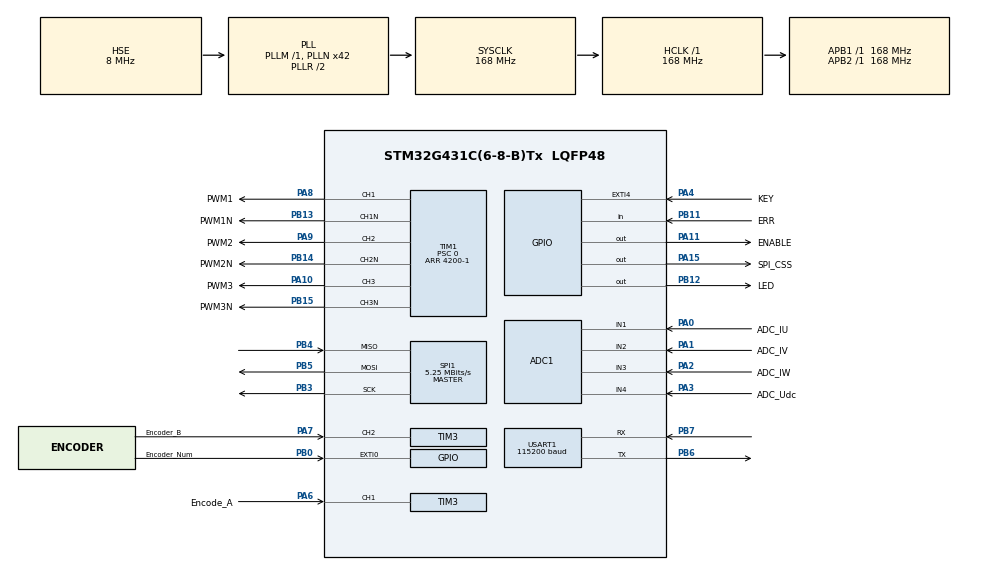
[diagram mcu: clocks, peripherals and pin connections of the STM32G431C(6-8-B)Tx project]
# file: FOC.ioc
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ADC1.Channel-4\#ChannelRegularConversion=ADC_CHANNEL_TEMPSENSOR_ADC1
ADC1.ContinuousConvMode=DISABLE
ADC1.DMAContinuousRequests=DISABLE
ADC1.EnableInjectedConversion=ENABLE
ADC1.EnableRegularConversion=ENABLE
ADC1.ExternalTrigInjecConv=ADC_EXTERNALTRIGINJEC_T1_CC4
ADC1.ExternalTrigInjecConvEdge=ADC_EXTERNALTRIGINJECCONV_EDGE_FALLING
ADC1.InjNumberOfConversion=4
ADC1.InjectedChannel-5\#ChannelInjectedConversion=ADC_CHANNEL_1
ADC1.InjectedChannel-6\#ChannelInjectedConversion=ADC_CHANNEL_2
ADC1.InjectedChannel-7\#ChannelInjectedConversion=ADC_CHANNEL_3
ADC1.InjectedChannel-8\#ChannelInjectedConversion=ADC_CHANNEL_4
ADC1.InjectedOffsetNumber-5\#ChannelInjectedConversion=ADC_OFFSET_NONE
ADC1.InjectedOffsetNumber-6\#ChannelInjectedConversion=ADC_OFFSET_NONE
ADC1.InjectedOffsetNumber-7\#ChannelInjectedConversion=ADC_OFFSET_NONE
ADC1.InjectedOffsetNumber-8\#ChannelInjectedConversion=ADC_OFFSET_NONE
ADC1.InjectedRank-5\#ChannelInjectedConversion=1
ADC1.InjectedRank-6\#ChannelInjectedConversion=2
ADC1.InjectedRank-7\#ChannelInjectedConversion=3
ADC1.InjectedRank-8\#ChannelInjectedConversion=4
ADC1.InjectedSamplingTime-5\#ChannelInjectedConversion=ADC_SAMPLETIME_2CYCLES_5
ADC1.InjectedSamplingTime-6\#ChannelInjectedConversion=ADC_SAMPLETIME_2CYCLES_5
ADC1.InjectedSamplingTime-7\#ChannelInjectedConversion=ADC_SAMPLETIME_2CYCLES_5
ADC1.InjectedSamplingTime-8\#ChannelInjectedConversion=ADC_SAMPLETIME_2CYCLES_5
ADC1.NbrOfConversionFlag=1
ADC1.OffsetNumber-4\#ChannelRegularConversion=ADC_OFFSET_NONE
ADC1.OversamplingMode=DISABLE
ADC1.Rank-4\#ChannelRegularConversion=1
ADC1.Rank1_Channel=ADC_CHANNEL_1
ADC1.Rank2_Channel=ADC_CHANNEL_2
ADC1.Rank3_Channel=ADC_CHANNEL_3
ADC1.Rank4_Channel=ADC_CHANNEL_4
ADC1.SamplingTime-4\#ChannelRegularConversion=ADC_SAMPLETIME_2CYCLES_5
ADC1.master=1
Dma.ADC1.0.Direction=DMA_PERIPH_TO_MEMORY
Dma.ADC1.0.EventEnable=DISABLE
Dma.ADC1.0.Instance=DMA1_Channel1
Dma.ADC1.0.MemDataAlignment=DMA_MDATAALIGN_HALFWORD
Dma.ADC1.0.MemInc=DMA_MINC_ENABLE
Dma.ADC1.0.Mode=DMA_CIRCULAR
Dma.ADC1.0.PeriphDataAlignment=DMA_PDATAALIGN_HALFWORD
Dma.ADC1.0.PeriphInc=DMA_PINC_DISABLE
Dma.ADC1.0.Polarity=HAL_DMAMUX_REQ_GEN_RISING
Dma.ADC1.0.Priority=DMA_PRIORITY_LOW
Dma.ADC1.0.RequestNumber=1
Dma.ADC1.0.SignalID=NONE
Dma.ADC1.0.SyncEnable=DISABLE
Dma.ADC1.0.SyncPolarity=HAL_DMAMUX_SYNC_NO_EVENT
Dma.ADC1.0.SyncRequestNumber=1
Dma.ADC1.0.SyncSignalID=NONE
Dma.Request0=ADC1
Dma.Request1=USART1_TX
Dma.Request2=USART1_RX
Dma.USART1_RX.2.Direction=DMA_PERIPH_TO_MEMORY
Dma.USART1_RX.2.EventEnable=DISABLE
Dma.USART1_RX.2.Instance=DMA1_Channel3
Dma.USART1_RX.2.MemDataAlignment=DMA_MDATAALIGN_BYTE
Dma.USART1_RX.2.MemInc=DMA_MINC_ENABLE
Dma.USART1_RX.2.Mode=DMA_NORMAL
Dma.USART1_RX.2.PeriphDataAlignment=DMA_PDATAALIGN_BYTE
Dma.USART1_RX.2.PeriphInc=DMA_PINC_DISABLE
Dma.USART1_RX.2.Polarity=HAL_DMAMUX_REQ_GEN_RISING
Dma.USART1_RX.2.Priority=DMA_PRIORITY_MEDIUM
Dma.USART1_RX.2.RequestNumber=1
Dma.USART1_RX.2.SignalID=NONE
Dma.USART1_RX.2.SyncEnable=DISABLE
Dma.USART1_RX.2.SyncPolarity=HAL_DMAMUX_SYNC_NO_EVENT
Dma.USART1_RX.2.SyncRequestNumber=1
Dma.USART1_RX.2.SyncSignalID=NONE
Dma.USART1_TX.1.Direction=DMA_MEMORY_TO_PERIPH
Dma.USART1_TX.1.EventEnable=DISABLE
Dma.USART1_TX.1.Instance=DMA1_Channel2
Dma.USART1_TX.1.MemDataAlignment=DMA_MDATAALIGN_BYTE
Dma.USART1_TX.1.MemInc=DMA_MINC_ENABLE
Dma.USART1_TX.1.Mode=DMA_NORMAL
Dma.USART1_TX.1.PeriphDataAlignment=DMA_PDATAALIGN_BYTE
Dma.USART1_TX.1.PeriphInc=DMA_PINC_DISABLE
Dma.USART1_TX.1.Polarity=HAL_DMAMUX_REQ_GEN_RISING
Dma.USART1_TX.1.Priority=DMA_PRIORITY_MEDIUM
Dma.USART1_TX.1.RequestNumber=1
Dma.USART1_TX.1.SignalID=NONE
Dma.USART1_TX.1.SyncEnable=DISABLE
Dma.USART1_TX.1.SyncPolarity=HAL_DMAMUX_SYNC_NO_EVENT
Dma.USART1_TX.1.SyncRequestNumber=1
Dma.USART1_TX.1.SyncSignalID=NONE
Mcu.Family=STM32G4
Mcu.Name=STM32G431C(6-8-B)Tx
Mcu.Package=LQFP48
NVIC.DMA1_Channel1_IRQn=true\:0\:0\:false\:false\:true\:false\:true\:true
NVIC.DMA1_Channel2_IRQn=true\:0\:0\:false\:false\:true\:false\:true\:true
NVIC.DMA1_Channel3_IRQn=true\:0\:0\:false\:false\:true\:false\:true\:true
NVIC.EXTI0_IRQn=true\:1\:0\:true\:false\:true\:true\:true\:true
NVIC.EXTI4_IRQn=true\:0\:0\:false\:false\:true\:true\:true\:true
NVIC.PriorityGroup=NVIC_PRIORITYGROUP_4
NVIC.TIM1_UP_TIM16_IRQn=true\:1\:0\:true\:false\:true\:true\:true\:true
NVIC.TIM3_IRQn=true\:0\:0\:false\:false\:true\:true\:true\:true
NVIC.TIM6_DAC_IRQn=true\:0\:0\:true\:false\:true\:true\:true\:true
NVIC.TIM7_IRQn=true\:0\:0\:false\:false\:true\:true\:true\:true
NVIC.USART1_IRQn=true\:0\:0\:true\:false\:true\:true\:true\:true
PA0.GPIO_Label=ADC_IU
PA0.Mode=IN1-Single-Ended
PA0.Signal=ADC1_IN1
PA1.GPIO_Label=ADC_IV
PA1.Mode=IN2-Single-Ended
PA1.Signal=ADC1_IN2
PA10.GPIO_Label=PWM3
PA10.GPIO_Speed=GPIO_SPEED_FREQ_HIGH
PA10.Signal=S_TIM1_CH3
PA11.GPIO_Label=ENABLE
PA11.Signal=GPIO_Output
PA13.Mode=Serial_Wire
PA13.Signal=SYS_JTMS-SWDIO
PA14.Mode=Serial_Wire
PA14.Signal=SYS_JTCK-SWCLK
PA15.GPIO_Label=SPI_CSS
PA15.PinState=GPIO_PIN_SET
PA15.Signal=GPIO_Output
PA2.GPIO_Label=ADC_IW
PA2.Mode=IN3-Single-Ended
PA2.Signal=ADC1_IN3
PA3.GPIO_Label=ADC_Udc
PA3.Mode=IN4-Single-Ended
PA3.Signal=ADC1_IN4
PA4.GPIO_Label=KEY
PA4.GPIO_ModeDefaultEXTI=GPIO_MODE_IT_FALLING
PA4.GPIO_PuPd=GPIO_PULLUP
PA4.Signal=GPXTI4
PA6.GPIO_Label=Encode_A
PA6.Signal=S_TIM3_CH1
PA7.GPIO_Label=Encoder_B
PA7.Signal=S_TIM3_CH2
PA8.GPIO_Label=PWM1
PA8.GPIO_Speed=GPIO_SPEED_FREQ_HIGH
PA8.Signal=S_TIM1_CH1
PA9.GPIO_Label=PWM2
PA9.GPIO_Speed=GPIO_SPEED_FREQ_HIGH
PA9.Signal=S_TIM1_CH2
PB0.GPIO_Label=Encoder_Num
PB0.GPIO_PuPd=GPIO_PULLDOWN
PB0.Signal=GPXTI0
PB11.GPIO_Label=ERR
PB11.Signal=GPIO_Input
PB12.GPIO_Label=LED
PB12.GPIO_PuPd=GPIO_PULLUP
PB12.Signal=GPIO_Output
PB13.GPIO_Label=PWM1N
PB13.GPIO_Speed=GPIO_SPEED_FREQ_HIGH
PB13.Mode=PWM Generation1 CH1 CH1N
PB13.Signal=TIM1_CH1N
PB14.GPIO_Label=PWM2N
PB14.GPIO_Speed=GPIO_SPEED_FREQ_HIGH
PB14.Mode=PWM Generation2 CH2 CH2N
PB14.Signal=TIM1_CH2N
PB15.GPIO_Label=PWM3N
PB15.GPIO_Speed=GPIO_SPEED_FREQ_HIGH
PB15.Mode=PWM Generation3 CH3 CH3N
PB15.Signal=TIM1_CH3N
PB3.Mode=Full_Duplex_Master
PB3.Signal=SPI1_SCK
PB4.Mode=Full_Duplex_Master
PB4.Signal=SPI1_MISO
PB5.Mode=Full_Duplex_Master
PB5.Signal=SPI1_MOSI
PB6.Mode=Asynchronous
PB6.Signal=USART1_TX
PB7.Mode=Asynchronous
PB7.Signal=USART1_RX
PF0-OSC_IN.Mode=HSE-External-Oscillator
PF0-OSC_IN.Signal=RCC_OSC_IN
PF1-OSC_OUT.Mode=HSE-External-Oscillator
PF1-OSC_OUT.Signal=RCC_OSC_OUT
ProjectManager.HeapSize=0x200
ProjectManager.StackSize=0x400
ProjectManager.TargetToolchain=MDK-ARM V5.32
RCC.ADC12Freq_Value=168000000
RCC.AHBFreq_Value=168000000
RCC.APB1Freq_Value=168000000
RCC.APB1TimFreq_Value=168000000
RCC.APB2Freq_Value=168000000
RCC.APB2TimFreq_Value=168000000
RCC.CortexFreq_Value=168000000
RCC.EXTERNAL_CLOCK_VALUE=12288000
RCC.HCLKFreq_Value=168000000
RCC.HSE_VALUE=8000000
RCC.HSI48_VALUE=48000000
RCC.HSI_VALUE=16000000
RCC.LSE_VALUE=32768
RCC.PLLN=42
RCC.PLLSourceVirtual=RCC_PLLSOURCE_HSE
RCC.SYSCLKFreq_VALUE=168000000
RCC.SYSCLKSource=RCC_SYSCLKSOURCE_PLLCLK
RCC.USBFreq_Value=168000000
RCC.VCOOutputFreq_Value=336000000
SH.S_TIM1_CH1.0=TIM1_CH1,PWM Generation1 CH1 CH1N
SH.S_TIM1_CH2.0=TIM1_CH2,PWM Generation2 CH2 CH2N
SH.S_TIM1_CH3.0=TIM1_CH3,PWM Generation3 CH3 CH3N
SH.S_TIM3_CH1.0=TIM3_CH1,Encoder_Interface
SH.S_TIM3_CH2.0=TIM3_CH2,Encoder_Interface
SPI1.BaudRatePrescaler=SPI_BAUDRATEPRESCALER_32
SPI1.CLKPhase=SPI_PHASE_2EDGE
SPI1.CRCCalculation=SPI_CRCCALCULATION_DISABLE
SPI1.CalculateBaudRate=5.25 MBits/s
SPI1.DataSize=SPI_DATASIZE_16BIT
SPI1.Direction=SPI_DIRECTION_2LINES
SPI1.Mode=SPI_MODE_MASTER
SPI1.VirtualType=VM_MASTER
TIM1.AutoReloadPreload=TIM_AUTORELOAD_PRELOAD_ENABLE
TIM1.AutomaticOutput=TIM_AUTOMATICOUTPUT_ENABLE
TIM1.BreakState=TIM_BREAK_DISABLE
TIM1.Channel-PWM\ Generation1\ CH1\ CH1N=TIM_CHANNEL_1
TIM1.Channel-PWM\ Generation2\ CH2\ CH2N=TIM_CHANNEL_2
TIM1.Channel-PWM\ Generation3\ CH3\ CH3N=TIM_CHANNEL_3
TIM1.Channel-PWM\ Generation4\ No\ Output=TIM_CHANNEL_4
TIM1.CounterMode=TIM_COUNTERMODE_CENTERALIGNED1
TIM1.DeadTime=100
TIM1.DeadTimePreload=DISABLE
TIM1.LockLevel=TIM_LOCKLEVEL_1
TIM1.OCMode_PWM-PWM\ Generation1\ CH1\ CH1N=TIM_OCMODE_PWM2
TIM1.OCMode_PWM-PWM\ Generation2\ CH2\ CH2N=TIM_OCMODE_PWM2
TIM1.OCMode_PWM-PWM\ Generation3\ CH3\ CH3N=TIM_OCMODE_PWM2
TIM1.OCMode_PWM-PWM\ Generation4\ No\ Output=TIM_OCMODE_PWM1
TIM1.OffStateIDLEMode=TIM_OSSI_ENABLE
TIM1.OffStateRunMode=TIM_OSSR_ENABLE
TIM1.PeriodNoDither=4200-1
TIM1.Prescaler=0
TIM1.PulseNoDither_1=2400
TIM1.PulseNoDither_2=2400
TIM1.PulseNoDither_3=2400
TIM3.EncoderMode=TIM_ENCODERMODE_TI12
TIM3.IC1Filter=5
TIM3.PeriodNoDither=4096-1
TIM6.AutoReloadPreload=TIM_AUTORELOAD_PRELOAD_DISABLE
TIM6.PeriodNoDither=1000-1
TIM6.Prescaler=168-1
TIM7.PeriodNoDither=10000-1
TIM7.Prescaler=168-1
USART1.BaudRate=115200
USART1.VirtualMode-Asynchronous=VM_ASYNC
VP_ADC1_TempSens_Input.Mode=IN-TempSens
VP_SYS_VS_DBSignals.Mode=DisableDeadBatterySignals
VP_TIM1_VS_ClockSourceINT.Mode=Internal
VP_TIM1_VS_no_output4.Mode=PWM Generation4 No Output
VP_TIM2_VS_ClockSourceINT.Mode=Internal
VP_TIM6_VS_ClockSourceINT.Mode=Enable_Timer
VP_TIM7_VS_ClockSourceINT.Mode=Enable_Timer
board=custom

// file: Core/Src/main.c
/* USER CODE BEGIN Header */
/**
 ******************************************************************************
 * @file           : main.c
 * @brief          : Main program body
 ******************************************************************************
 * @attention
 *
 * Copyright (c) 2024 STMicroelectronics.
 * All rights reserved.
 *
 * This software is licensed under terms that can be found in the LICENSE file
 * in the root directory of this software component.
 * If no LICENSE file comes with this software, it is provided AS-IS.
 *
 ******************************************************************************
 */
/* USER CODE END Header */
#include "main.h"
#include "adc.h"
#include "dma.h"
#include "spi.h"
#include "tim.h"
#include "usart.h"
#include "gpio.h"

/* USER CODE BEGIN Includes */
#include "AS5047P.h"
#include "pid.h"
#include "vofa.h"
#include "motor.h"
#include "current .h"
/* USER CODE END Includes */

void SystemClock_Config(void);

/* USER CODE BEGIN 0 */
// __attribute__((section(".dma_buffer"), aligned(4))) int16_t adc_buff[4] = {0};

/* USER CODE END 0 */

int main(void)
{

  /* MCU Configuration--------------------------------------------------------*/

  /* Reset of all peripherals, Initializes the Flash interface and the Systick. */
  HAL_Init();

  /* Configure the system clock */
  SystemClock_Config();

  /* Initialize all configured peripherals */
  MX_GPIO_Init();
  MX_DMA_Init();
  MX_ADC1_Init();
  MX_SPI1_Init();
  MX_TIM1_Init();
  MX_TIM3_Init();
  MX_USART1_UART_Init();
  MX_TIM7_Init();
  MX_TIM6_Init();
  MX_TIM2_Init();
  /* USER CODE BEGIN 2 */
  HAL_Delay(10);

  HAL_ADCEx_InjectedStart(&hadc1);
  __HAL_ADC_ENABLE_IT(&hadc1, ADC_IT_JEOC);

  HAL_TIM_PWM_Start(&htim1, TIM_CHANNEL_1);
  HAL_TIM_PWM_Start(&htim1, TIM_CHANNEL_2);
  HAL_TIM_PWM_Start(&htim1, TIM_CHANNEL_3);
  HAL_TIM_PWM_Start(&htim1, TIM_CHANNEL_4);

  HAL_TIMEx_OCN_Start(&htim1, TIM_CHANNEL_1);
  HAL_TIMEx_OCN_Start(&htim1, TIM_CHANNEL_2);
  HAL_TIMEx_OCN_Start(&htim1, TIM_CHANNEL_3);

  __HAL_TIM_ENABLE_IT(&htim1, TIM_IT_UPDATE);
  TIM1->CCR4=1000;
  As5047p_Init(&as5047_encoder);
  motor_init(&my_motor);
  adc_init(&my_motor.adc_u);
  /* USER CODE END 2 */

  /* Infinite loop */
  while (1)
  {

    /* USER CODE BEGIN 3 */
    //my_motor.foc.theta=read_angle_spi(ANGLECOM_ADDR);
     // my_motor.foc.theta=0;
    // my_motor.foc.theta=read_angle_ABZ();
    //   my_motor.foc.theta+=0.1;
    // ipark(&my_motor.foc);
    // svpwm(&my_motor.foc);
    // Set_SVPWM_Compare(my_motor.foc.t_a, my_motor.foc.t_b, my_motor.foc.t_c);
    //rintf("%d,%d,%d\r\n",my_motor.foc.t_a,my_motor.foc.t_b,my_motor.foc.t_c);

    // printf("%.2f,%.2f,%.2f\r\n",my_motor.foc.t_a,my_motor.foc.t_b,my_motor.foc.t_c);
    // ang = read_angle_ABZ();
    // printf("%.2f,%.2f\r\n",ang,ele_ang);
    //  Vofa_FireWater("%.2f\r\n", ang);
  }
  /* USER CODE END 3 */
}

void SystemClock_Config(void)
{
  RCC_OscInitTypeDef RCC_OscInitStruct = {0};
  RCC_ClkInitTypeDef RCC_ClkInitStruct = {0};

  /** Configure the main internal regulator output voltage
  */
  HAL_PWREx_ControlVoltageScaling(PWR_REGULATOR_VOLTAGE_SCALE1_BOOST);

  /** Initializes the RCC Oscillators according to the specified parameters
  * in the RCC_OscInitTypeDef structure.
  */
  RCC_OscInitStruct.OscillatorType = RCC_OSCILLATORTYPE_HSE;
  RCC_OscInitStruct.HSEState = RCC_HSE_ON;
  RCC_OscInitStruct.PLL.PLLState = RCC_PLL_ON;
  RCC_OscInitStruct.PLL.PLLSource = RCC_PLLSOURCE_HSE;
  RCC_OscInitStruct.PLL.PLLM = RCC_PLLM_DIV1;
  RCC_OscInitStruct.PLL.PLLN = 42;
  RCC_OscInitStruct.PLL.PLLP = RCC_PLLP_DIV2;
  RCC_OscInitStruct.PLL.PLLQ = RCC_PLLQ_DIV2;
  RCC_OscInitStruct.PLL.PLLR = RCC_PLLR_DIV2;
  if (HAL_RCC_OscConfig(&RCC_OscInitStruct) != HAL_OK)
  {
    Error_Handler();
  }

  /** Initializes the CPU, AHB and APB buses clocks
  */
  RCC_ClkInitStruct.ClockType = RCC_CLOCKTYPE_HCLK|RCC_CLOCKTYPE_SYSCLK
                              |RCC_CLOCKTYPE_PCLK1|RCC_CLOCKTYPE_PCLK2;
  RCC_ClkInitStruct.SYSCLKSource = RCC_SYSCLKSOURCE_PLLCLK;
  RCC_ClkInitStruct.AHBCLKDivider = RCC_SYSCLK_DIV1;
  RCC_ClkInitStruct.APB1CLKDivider = RCC_HCLK_DIV1;
  RCC_ClkInitStruct.APB2CLKDivider = RCC_HCLK_DIV1;

  if (HAL_RCC_ClockConfig(&RCC_ClkInitStruct, FLASH_LATENCY_4) != HAL_OK)
  {
    Error_Handler();
  }
}

void Error_Handler(void)
{
  __disable_irq();
  while (1)
  {
  }
}
